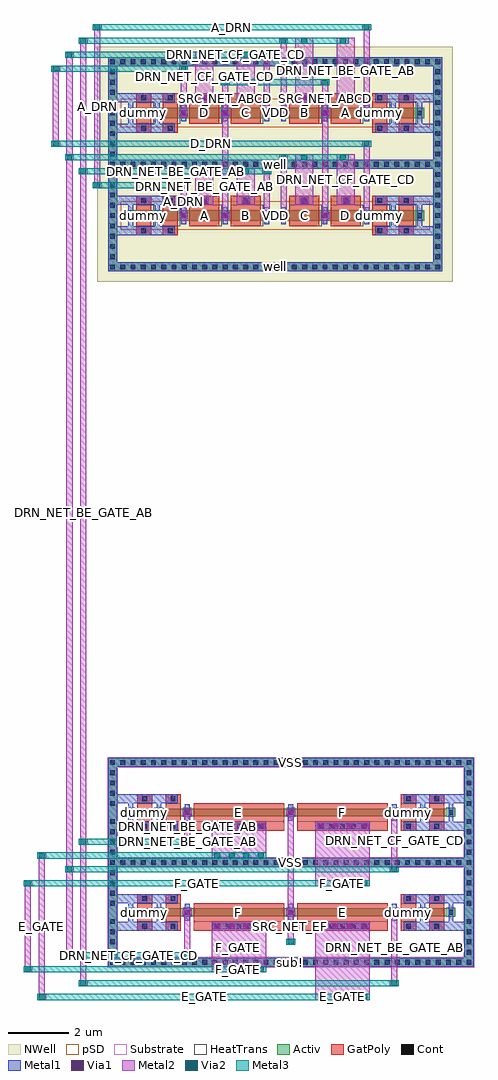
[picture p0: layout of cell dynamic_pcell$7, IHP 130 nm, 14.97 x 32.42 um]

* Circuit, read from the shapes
.subckt dynamic_pcell$7 A_DRN DRN_NET_BE_GATE_AB DRN_NET_CF_GATE_CD D_DRN E_GATE F_GATE SRC_NET_ABCD SRC_NET_EF VDD VSS
XM1 VSS VSS VSS VSS sg13_lv_nmos w=0.26u l=0.5u m=4
XM2 DRN_NET_CF_GATE_CD VSS VSS VSS sg13_lv_nmos w=0.26u l=0.5u m=2
XM3 DRN_NET_BE_GATE_AB VSS VSS VSS sg13_lv_nmos w=0.26u l=0.5u m=2
XM4 SRC_NET_EF F_GATE DRN_NET_CF_GATE_CD VSS sg13_lv_nmos w=0.26u l=3u m=2
XM5 SRC_NET_EF E_GATE DRN_NET_BE_GATE_AB VSS sg13_lv_nmos w=0.26u l=3u m=2
XM6 VDD VDD VDD VDD sg13_lv_pmos w=0.35u l=0.5u m=4
XM7 A_DRN VDD VDD VDD sg13_lv_pmos w=0.35u l=0.5u m=2
XM8 D_DRN VDD VDD VDD sg13_lv_pmos w=0.35u l=0.5u m=2
XM9 SRC_NET_ABCD DRN_NET_BE_GATE_AB A_DRN VDD sg13_lv_pmos w=0.35u l=1u m=2
XM10 SRC_NET_ABCD DRN_NET_CF_GATE_CD D_DRN VDD sg13_lv_pmos w=0.35u l=1u m=2
XM11 DRN_NET_BE_GATE_AB DRN_NET_BE_GATE_AB SRC_NET_ABCD VDD sg13_lv_pmos w=0.35u l=1u m=2
XM12 DRN_NET_CF_GATE_CD DRN_NET_CF_GATE_CD SRC_NET_ABCD VDD sg13_lv_pmos w=0.35u l=1u m=2
.ends

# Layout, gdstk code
import gdstk
lib = gdstk.Library(unit=1e-6, precision=1e-09)
def R(c, l, rs):  # rectangles x0, y0, x1, y1
    for r in rs: c.add(gdstk.rectangle(r[:2], r[2:], *l))
def A(c, l, x, y, w, h, nx, ny, dx, dy):  # array of equal rectangles
    R(c, l, [(x+i*dx, y+j*dy, x+i*dx+w, y+j*dy+h) for i in range(nx) for j in range(ny)])
def P(c, l, *ps):  # polygons
    for p in ps: c.add(gdstk.Polygon(p, *l))
Activ = (1, 0)
GatPoly = (5, 0)
Cont = (6, 0)
Metal1 = (8, 0)
Metal2 = (10, 0)
pSD = (14, 0)
Via1 = (19, 0)
Via2 = (29, 0)
Metal3 = (30, 0)
NWell = (31, 0)
Substrate = (40, 0)
HeatTrans = (51, 0)

dynamic_pcell_7 = lib.new_cell('dynamic_pcell$7')
A(dynamic_pcell_7, Activ, 0, -23.12, 0.3, 0.3, 3, 2, 0.94, 3.32)
A(dynamic_pcell_7, Activ, 8.76, -23.12, 0.3, 0.3, 3, 2, 0.94, 3.32)
A(dynamic_pcell_7, Activ, 0, 0, 0.3, 0.3, 3, 2, 0.88, 3.41)
A(dynamic_pcell_7, Activ, 7.84, 0, 0.3, 0.3, 3, 2, 0.88, 3.41)
R(dynamic_pcell_7, Activ, [(-0.6,-24.78,11.54,-24.48), (-0.6,-24.48,-0.3,-21.46), (11.24,-24.48,11.54,-21.46), (1.88,-23.12,2.18,-22.82), (5.32,-23.12,5.62,-22.82), (5.32,-23.12,5.62,-22.82), (8.76,-23.12,9.06,-22.82), (0,-23.1,2.18,-22.84), (1.88,-23.1,5.62,-22.84), (5.32,-23.1,9.06,-22.84), (8.76,-23.1,10.94,-22.84), (-0.6,-21.46,11.54,-21.16), (-0.6,-21.16,-0.3,-18.14), (11.24,-21.16,11.54,-18.14), (1.88,-19.8,2.18,-19.5), (5.32,-19.8,5.62,-19.5), (5.32,-19.8,5.62,-19.5), (8.76,-19.8,9.06,-19.5), (0,-19.78,2.18,-19.52), (1.88,-19.78,5.62,-19.52), (5.32,-19.78,9.06,-19.52), (8.76,-19.78,10.94,-19.52), (-0.6,-1.68,10.5,-1.38), (-0.6,-1.38,-0.3,1.73), (10.2,-1.38,10.5,1.73), (0,0,2.06,0.35), (1.76,0,2.06,0.3), (1.76,0,3.44,0.35), (3.14,0,3.44,0.3), (3.14,0,3.44,0.3), (3.14,0,4.82,0.35), (4.52,0,4.82,0.3), (5.08,0,5.38,0.3), (5.08,0,6.76,0.35), (6.46,0,6.76,0.3), (6.46,0,6.76,0.3), (6.46,0,8.14,0.35), (7.84,0,8.14,0.3), (7.84,0,9.9,0.35), (-0.6,1.73,10.5,2.03), (-0.6,2.03,-0.3,5.14), (10.2,2.03,10.5,5.14), (0,3.41,2.06,3.76), (1.76,3.41,2.06,3.71), (1.76,3.41,3.44,3.76), (3.14,3.41,3.44,3.71), (3.14,3.41,3.44,3.71), (3.14,3.41,4.82,3.76), (4.52,3.41,4.82,3.71), (5.08,3.41,5.38,3.71), (5.08,3.41,6.76,3.76), (6.46,3.41,6.76,3.71), (6.46,3.41,6.76,3.71), (6.46,3.41,8.14,3.76), (7.84,3.41,8.14,3.71), (7.84,3.41,9.9,3.76)])
P(dynamic_pcell_7, Activ, [(-0.6,-1.68),(-0.6,1.73),(-0.3,1.73),(-0.3,-1.38),(10.2,-1.38),(10.2,1.73),(-0.6,1.73),(-0.6,2.03),(10.5,2.03),(10.5,-1.68)],
  [(-0.6,1.73),(-0.6,5.14),(-0.3,5.14),(-0.3,2.03),(10.2,2.03),(10.2,5.14),(-0.6,5.14),(-0.6,5.44),(10.5,5.44),(10.5,1.73)],
  [(-0.6,-21.46),(-0.6,-18.14),(-0.3,-18.14),(-0.3,-21.16),(11.24,-21.16),(11.24,-18.14),(-0.6,-18.14),(-0.6,-17.84),(11.54,-17.84),(11.54,-21.46)],
  [(-0.6,-24.78),(-0.6,-21.46),(-0.3,-21.46),(-0.3,-24.48),(11.24,-24.48),(11.24,-21.46),(-0.6,-21.46),(-0.6,-21.16),(11.54,-21.16),(11.54,-24.78)])
R(dynamic_pcell_7, GatPoly, [(0.37,-23.58,0.87,-23.28), (0.47,-23.58,0.77,-23.28), (1.31,-23.58,1.81,-23.28), (1.41,-23.58,1.71,-23.28), (2.25,-23.58,5.25,-23.28), (2.85,-23.58,4.65,-23.28), (5.69,-23.58,8.69,-23.28), (6.29,-23.58,8.09,-23.28), (9.13,-23.58,9.63,-23.28), (9.23,-23.58,9.53,-23.28), (10.07,-23.58,10.57,-23.28), (10.17,-23.58,10.47,-23.28), (0.37,-23.28,0.87,-22.66), (1.31,-23.28,1.81,-22.66), (2.25,-23.28,5.25,-22.66), (5.69,-23.28,8.69,-22.66), (9.13,-23.28,9.63,-22.66), (10.07,-23.28,10.57,-22.66), (0.37,-22.66,0.87,-22.36), (0.47,-22.66,0.77,-22.36), (1.31,-22.66,1.81,-22.36), (1.41,-22.66,1.71,-22.36), (9.13,-22.66,9.63,-22.36), (9.23,-22.66,9.53,-22.36), (10.07,-22.66,10.57,-22.36), (10.17,-22.66,10.47,-22.36), (0.37,-20.26,0.87,-19.96), (0.47,-20.26,0.77,-19.96), (1.31,-20.26,1.81,-19.96), (1.41,-20.26,1.71,-19.96), (2.25,-20.26,5.25,-19.96), (2.85,-20.26,4.65,-19.96), (5.69,-20.26,8.69,-19.96), (6.29,-20.26,8.09,-19.96), (9.13,-20.26,9.63,-19.96), (9.23,-20.26,9.53,-19.96), (10.07,-20.26,10.57,-19.96), (10.17,-20.26,10.47,-19.96), (0.37,-19.96,0.87,-19.34), (1.31,-19.96,1.81,-19.34), (2.25,-19.96,5.25,-19.34), (5.69,-19.96,8.69,-19.34), (9.13,-19.96,9.63,-19.34), (10.07,-19.96,10.57,-19.34), (0.37,-19.34,0.87,-19.04), (0.47,-19.34,0.77,-19.04), (1.31,-19.34,1.81,-19.04), (1.41,-19.34,1.71,-19.04), (9.13,-19.34,9.63,-19.04), (9.23,-19.34,9.53,-19.04), (10.07,-19.34,10.57,-19.04), (10.17,-19.34,10.47,-19.04), (0.34,-0.48,0.84,-0.18), (0.44,-0.48,0.74,-0.18), (1.22,-0.48,1.72,-0.18), (1.32,-0.48,1.62,-0.18), (8.18,-0.48,8.68,-0.18), (8.28,-0.48,8.58,-0.18), (9.06,-0.48,9.56,-0.18), (9.16,-0.48,9.46,-0.18), (0.34,-0.18,0.84,0.53), (1.22,-0.18,1.72,0.53), (2.1,-0.18,3.1,0.53), (3.48,-0.18,4.48,0.53), (5.42,-0.18,6.42,0.53), (6.8,-0.18,7.8,0.53), (8.18,-0.18,8.68,0.53), (9.06,-0.18,9.56,0.53), (0.34,0.53,0.84,0.83), (0.44,0.53,0.74,0.83), (1.22,0.53,1.72,0.83), (1.32,0.53,1.62,0.83), (2.1,0.53,3.1,0.83), (2.3,0.53,2.9,0.83), (3.48,0.53,4.48,0.83), (3.68,0.53,4.28,0.83), (5.42,0.53,6.42,0.83), (5.62,0.53,6.22,0.83), (6.8,0.53,7.8,0.83), (7,0.53,7.6,0.83), (8.18,0.53,8.68,0.83), (8.28,0.53,8.58,0.83), (9.06,0.53,9.56,0.83), (9.16,0.53,9.46,0.83), (0.34,2.93,0.84,3.23), (0.44,2.93,0.74,3.23), (1.22,2.93,1.72,3.23), (1.32,2.93,1.62,3.23), (8.18,2.93,8.68,3.23), (8.28,2.93,8.58,3.23), (9.06,2.93,9.56,3.23), (9.16,2.93,9.46,3.23), (0.34,3.23,0.84,3.94), (1.22,3.23,1.72,3.94), (2.1,3.23,3.1,3.94), (3.48,3.23,4.48,3.94), (5.42,3.23,6.42,3.94), (6.8,3.23,7.8,3.94), (8.18,3.23,8.68,3.94), (9.06,3.23,9.56,3.94), (0.34,3.94,0.84,4.24), (0.44,3.94,0.74,4.24), (1.22,3.94,1.72,4.24), (1.32,3.94,1.62,4.24), (2.1,3.94,3.1,4.24), (2.3,3.94,2.9,4.24), (3.48,3.94,4.48,4.24), (3.68,3.94,4.28,4.24), (5.42,3.94,6.42,4.24), (5.62,3.94,6.22,4.24), (6.8,3.94,7.8,4.24), (7,3.94,7.6,4.24), (8.18,3.94,8.68,4.24), (8.28,3.94,8.58,4.24), (9.06,3.94,9.56,4.24), (9.16,3.94,9.46,4.24)])
A(dynamic_pcell_7, Cont, -0.53, -24.71, 0.16, 0.16, 17, 2, 0.34, 6.64)
A(dynamic_pcell_7, Cont, 5.53, -24.71, 0.16, 0.16, 18, 2, 0.34, 6.64)
A(dynamic_pcell_7, Cont, -0.53, -24.37, 0.16, 0.16, 1, 4, 0, 0.34)
A(dynamic_pcell_7, Cont, 11.31, -24.37, 0.16, 0.16, 1, 4, 0, 0.34)
A(dynamic_pcell_7, Cont, 2.95, -23.51, 0.16, 0.16, 5, 2, 0.36, 3.32)
A(dynamic_pcell_7, Cont, 6.39, -23.51, 0.16, 0.16, 5, 2, 0.36, 3.32)
A(dynamic_pcell_7, Cont, 0.07, -23.05, 0.16, 0.16, 3, 2, 0.94, 3.32)
A(dynamic_pcell_7, Cont, 8.83, -23.05, 0.16, 0.16, 3, 2, 0.94, 3.32)
A(dynamic_pcell_7, Cont, -0.53, -22.75, 0.16, 0.16, 1, 5, 0, 0.34)
A(dynamic_pcell_7, Cont, 11.31, -22.75, 0.16, 0.16, 1, 5, 0, 0.34)
A(dynamic_pcell_7, Cont, -0.53, -21.39, 0.16, 0.16, 1, 5, 0, 0.34)
A(dynamic_pcell_7, Cont, 11.31, -21.39, 0.16, 0.16, 1, 5, 0, 0.34)
A(dynamic_pcell_7, Cont, -0.53, -19.43, 0.16, 0.16, 1, 4, 0, 0.34)
A(dynamic_pcell_7, Cont, 11.31, -19.43, 0.16, 0.16, 1, 4, 0, 0.34)
A(dynamic_pcell_7, Cont, -0.53, -1.61, 0.16, 0.16, 16, 2, 0.34, 6.82)
A(dynamic_pcell_7, Cont, 5.17, -1.61, 0.16, 0.16, 16, 2, 0.34, 6.82)
A(dynamic_pcell_7, Cont, -0.53, -1.27, 0.16, 0.16, 1, 4, 0, 0.34)
A(dynamic_pcell_7, Cont, 10.27, -1.27, 0.16, 0.16, 1, 4, 0, 0.34)
A(dynamic_pcell_7, Cont, 0.07, 0.095, 0.16, 0.16, 3, 2, 0.88, 3.41)
A(dynamic_pcell_7, Cont, 7.91, 0.095, 0.16, 0.16, 3, 2, 0.88, 3.41)
A(dynamic_pcell_7, Cont, -0.53, 0.1, 0.16, 0.16, 1, 6, 0, 0.34)
A(dynamic_pcell_7, Cont, 10.27, 0.1, 0.16, 0.16, 1, 6, 0, 0.34)
A(dynamic_pcell_7, Cont, -0.53, 1.8, 0.16, 0.16, 1, 5, 0, 0.34)
A(dynamic_pcell_7, Cont, 10.27, 1.8, 0.16, 0.16, 1, 5, 0, 0.34)
A(dynamic_pcell_7, Cont, -0.53, 3.51, 0.16, 0.16, 1, 5, 0, 0.34)
A(dynamic_pcell_7, Cont, 10.27, 3.51, 0.16, 0.16, 1, 5, 0, 0.34)
R(dynamic_pcell_7, Cont, [(0.54,-23.51,0.7,-23.35), (1.48,-23.51,1.64,-23.35), (9.3,-23.51,9.46,-23.35), (10.24,-23.51,10.4,-23.35), (1.95,-23.05,2.11,-22.89), (5.39,-23.05,5.55,-22.89), (5.39,-23.05,5.55,-22.89), (8.83,-23.05,8.99,-22.89), (0.54,-22.59,0.7,-22.43), (1.48,-22.59,1.64,-22.43), (9.3,-22.59,9.46,-22.43), (10.24,-22.59,10.4,-22.43), (-0.19,-21.39,-0.03,-21.23), (-0.19,-21.39,-0.03,-21.23), (0.15,-21.39,0.31,-21.23), (0.15,-21.39,0.31,-21.23), (0.49,-21.39,0.65,-21.23), (0.49,-21.39,0.65,-21.23), (0.83,-21.39,0.99,-21.23), (0.83,-21.39,0.99,-21.23), (1.17,-21.39,1.33,-21.23), (1.17,-21.39,1.33,-21.23), (1.51,-21.39,1.67,-21.23), (1.51,-21.39,1.67,-21.23), (1.85,-21.39,2.01,-21.23), (1.85,-21.39,2.01,-21.23), (2.19,-21.39,2.35,-21.23), (2.19,-21.39,2.35,-21.23), (2.53,-21.39,2.69,-21.23), (2.53,-21.39,2.69,-21.23), (2.87,-21.39,3.03,-21.23), (2.87,-21.39,3.03,-21.23), (3.21,-21.39,3.37,-21.23), (3.21,-21.39,3.37,-21.23), (3.55,-21.39,3.71,-21.23), (3.55,-21.39,3.71,-21.23), (3.89,-21.39,4.05,-21.23), (3.89,-21.39,4.05,-21.23), (4.23,-21.39,4.39,-21.23), (4.23,-21.39,4.39,-21.23), (4.57,-21.39,4.73,-21.23), (4.57,-21.39,4.73,-21.23), (4.91,-21.39,5.07,-21.23), (4.91,-21.39,5.07,-21.23), (5.53,-21.39,5.69,-21.23), (5.53,-21.39,5.69,-21.23), (5.87,-21.39,6.03,-21.23), (5.87,-21.39,6.03,-21.23), (6.21,-21.39,6.37,-21.23), (6.21,-21.39,6.37,-21.23), (6.55,-21.39,6.71,-21.23), (6.55,-21.39,6.71,-21.23), (6.89,-21.39,7.05,-21.23), (6.89,-21.39,7.05,-21.23), (7.23,-21.39,7.39,-21.23), (7.23,-21.39,7.39,-21.23), (7.57,-21.39,7.73,-21.23), (7.57,-21.39,7.73,-21.23), (7.91,-21.39,8.07,-21.23), (7.91,-21.39,8.07,-21.23), (8.25,-21.39,8.41,-21.23), (8.25,-21.39,8.41,-21.23), (8.59,-21.39,8.75,-21.23), (8.59,-21.39,8.75,-21.23), (8.93,-21.39,9.09,-21.23), (8.93,-21.39,9.09,-21.23), (9.27,-21.39,9.43,-21.23), (9.27,-21.39,9.43,-21.23), (9.61,-21.39,9.77,-21.23), (9.61,-21.39,9.77,-21.23), (9.95,-21.39,10.11,-21.23), (9.95,-21.39,10.11,-21.23), (10.29,-21.39,10.45,-21.23), (10.29,-21.39,10.45,-21.23), (10.63,-21.39,10.79,-21.23), (10.63,-21.39,10.79,-21.23), (10.97,-21.39,11.13,-21.23), (10.97,-21.39,11.13,-21.23), (0.54,-20.19,0.7,-20.03), (1.48,-20.19,1.64,-20.03), (9.3,-20.19,9.46,-20.03), (10.24,-20.19,10.4,-20.03), (1.95,-19.73,2.11,-19.57), (5.39,-19.73,5.55,-19.57), (5.39,-19.73,5.55,-19.57), (8.83,-19.73,8.99,-19.57), (0.54,-19.27,0.7,-19.11), (1.48,-19.27,1.64,-19.11), (9.3,-19.27,9.46,-19.11), (10.24,-19.27,10.4,-19.11), (0.51,-0.41,0.67,-0.25), (1.39,-0.41,1.55,-0.25), (8.35,-0.41,8.51,-0.25), (9.23,-0.41,9.39,-0.25), (1.83,0.095,1.99,0.255), (3.21,0.095,3.37,0.255), (3.21,0.095,3.37,0.255), (4.59,0.095,4.75,0.255), (5.15,0.095,5.31,0.255), (6.53,0.095,6.69,0.255), (6.53,0.095,6.69,0.255), (7.91,0.095,8.07,0.255), (0.51,0.6,0.67,0.76), (1.39,0.6,1.55,0.76), (2.52,0.6,2.68,0.76), (3.9,0.6,4.06,0.76), (5.84,0.6,6,0.76), (7.22,0.6,7.38,0.76), (8.35,0.6,8.51,0.76), (9.23,0.6,9.39,0.76), (-0.19,1.8,-0.03,1.96), (-0.19,1.8,-0.03,1.96), (0.15,1.8,0.31,1.96), (0.15,1.8,0.31,1.96), (0.49,1.8,0.65,1.96), (0.49,1.8,0.65,1.96), (0.83,1.8,0.99,1.96), (0.83,1.8,0.99,1.96), (1.17,1.8,1.33,1.96), (1.17,1.8,1.33,1.96), (1.51,1.8,1.67,1.96), (1.51,1.8,1.67,1.96), (1.85,1.8,2.01,1.96), (1.85,1.8,2.01,1.96), (2.19,1.8,2.35,1.96), (2.19,1.8,2.35,1.96), (2.53,1.8,2.69,1.96), (2.53,1.8,2.69,1.96), (2.87,1.8,3.03,1.96), (2.87,1.8,3.03,1.96), (3.21,1.8,3.37,1.96), (3.21,1.8,3.37,1.96), (3.55,1.8,3.71,1.96), (3.55,1.8,3.71,1.96), (3.89,1.8,4.05,1.96), (3.89,1.8,4.05,1.96), (4.23,1.8,4.39,1.96), (4.23,1.8,4.39,1.96), (4.57,1.8,4.73,1.96), (4.57,1.8,4.73,1.96), (5.17,1.8,5.33,1.96), (5.17,1.8,5.33,1.96), (5.51,1.8,5.67,1.96), (5.51,1.8,5.67,1.96), (5.85,1.8,6.01,1.96), (5.85,1.8,6.01,1.96), (6.19,1.8,6.35,1.96), (6.19,1.8,6.35,1.96), (6.53,1.8,6.69,1.96), (6.53,1.8,6.69,1.96), (6.87,1.8,7.03,1.96), (6.87,1.8,7.03,1.96), (7.21,1.8,7.37,1.96), (7.21,1.8,7.37,1.96), (7.55,1.8,7.71,1.96), (7.55,1.8,7.71,1.96), (7.89,1.8,8.05,1.96), (7.89,1.8,8.05,1.96), (8.23,1.8,8.39,1.96), (8.23,1.8,8.39,1.96), (8.57,1.8,8.73,1.96), (8.57,1.8,8.73,1.96), (8.91,1.8,9.07,1.96), (8.91,1.8,9.07,1.96), (9.25,1.8,9.41,1.96), (9.25,1.8,9.41,1.96), (9.59,1.8,9.75,1.96), (9.59,1.8,9.75,1.96), (9.93,1.8,10.09,1.96), (9.93,1.8,10.09,1.96), (0.51,3,0.67,3.16), (1.39,3,1.55,3.16), (8.35,3,8.51,3.16), (9.23,3,9.39,3.16), (1.83,3.505,1.99,3.665), (3.21,3.505,3.37,3.665), (3.21,3.505,3.37,3.665), (4.59,3.505,4.75,3.665), (5.15,3.505,5.31,3.665), (6.53,3.505,6.69,3.665), (6.53,3.505,6.69,3.665), (7.91,3.505,8.07,3.665), (0.51,4.01,0.67,4.17), (1.39,4.01,1.55,4.17), (2.52,4.01,2.68,4.17), (3.9,4.01,4.06,4.17), (5.84,4.01,6,4.17), (7.22,4.01,7.38,4.17), (8.35,4.01,8.51,4.17), (9.23,4.01,9.39,4.17)])
A(dynamic_pcell_7, Metal1, 0.07, -23.1, 0.16, 0.26, 3, 2, 0.94, 3.32)
A(dynamic_pcell_7, Metal1, 8.83, -23.1, 0.16, 0.26, 3, 2, 0.94, 3.32)
A(dynamic_pcell_7, Metal1, 0.07, 0.01, 0.16, 0.33, 3, 2, 0.88, 3.41)
A(dynamic_pcell_7, Metal1, 7.91, 0.01, 0.16, 0.33, 3, 2, 0.88, 3.41)
R(dynamic_pcell_7, Metal1, [(-0.6,-24.78,11.54,-24.48), (-0.6,-24.48,-0.3,-21.46), (11.24,-24.48,11.54,-21.46), (-0.6,-23.58,1.71,-23.28), (0.07,-23.58,0.23,-22.36), (1.01,-23.58,1.17,-22.36), (9.23,-23.58,11.54,-23.28), (9.77,-23.58,9.93,-22.36), (10.71,-23.58,10.87,-22.36), (2.885,-23.535,4.615,-23.325), (6.325,-23.535,8.055,-23.325), (0.49,-23.51,0.75,-23.35), (1.43,-23.51,1.69,-23.35), (2.9,-23.51,4.6,-23.35), (6.34,-23.51,8.04,-23.35), (9.25,-23.51,9.51,-23.35), (10.19,-23.51,10.45,-23.35), (1.95,-23.25,2.11,-22.69), (5.39,-23.25,5.55,-22.69), (5.39,-23.25,5.55,-22.69), (8.83,-23.25,8.99,-22.69), (1.95,-23.1,2.11,-22.84), (5.39,-23.1,5.55,-22.84), (5.39,-23.1,5.55,-22.84), (8.83,-23.1,8.99,-22.84), (1.885,-23.075,2.175,-22.865), (5.325,-23.075,5.615,-22.865), (5.325,-23.075,5.615,-22.865), (5.325,-23.075,5.615,-22.865), (5.325,-23.075,5.615,-22.865), (8.765,-23.075,9.055,-22.865), (-0.6,-22.66,1.71,-22.36), (9.23,-22.66,11.54,-22.36), (0.49,-22.59,0.75,-22.43), (1.43,-22.59,1.69,-22.43), (9.25,-22.59,9.51,-22.43), (10.19,-22.59,10.45,-22.43), (-0.6,-21.46,11.54,-21.16), (-0.6,-21.46,11.54,-21.16), (-0.6,-21.16,-0.3,-18.14), (11.24,-21.16,11.54,-18.14), (-0.6,-20.26,1.71,-19.96), (0.07,-20.26,0.23,-19.04), (1.01,-20.26,1.17,-19.04), (9.23,-20.26,11.54,-19.96), (9.77,-20.26,9.93,-19.04), (10.71,-20.26,10.87,-19.04), (2.885,-20.215,4.615,-20.005), (6.325,-20.215,8.055,-20.005), (0.49,-20.19,0.75,-20.03), (1.43,-20.19,1.69,-20.03), (2.9,-20.19,4.6,-20.03), (6.34,-20.19,8.04,-20.03), (9.25,-20.19,9.51,-20.03), (10.19,-20.19,10.45,-20.03), (1.95,-19.93,2.11,-19.37), (5.39,-19.93,5.55,-19.37), (5.39,-19.93,5.55,-19.37), (8.83,-19.93,8.99,-19.37), (1.95,-19.78,2.11,-19.52), (5.39,-19.78,5.55,-19.52), (5.39,-19.78,5.55,-19.52), (8.83,-19.78,8.99,-19.52), (1.885,-19.755,2.175,-19.545), (5.325,-19.755,5.615,-19.545), (5.325,-19.755,5.615,-19.545), (8.765,-19.755,9.055,-19.545), (-0.6,-19.34,1.71,-19.04), (9.23,-19.34,11.54,-19.04), (0.49,-19.27,0.75,-19.11), (1.43,-19.27,1.69,-19.11), (9.25,-19.27,9.51,-19.11), (10.19,-19.27,10.45,-19.11), (-0.6,-18.14,11.54,-17.84), (-0.6,-1.68,10.5,-1.38), (-0.6,-1.38,-0.3,1.73), (10.2,-1.38,10.5,1.73), (-0.6,-0.48,1.62,-0.18), (0.07,-0.48,0.23,0.83), (0.95,-0.48,1.11,0.83), (8.28,-0.48,10.5,-0.18), (8.79,-0.48,8.95,0.83), (9.67,-0.48,9.83,0.83), (0.46,-0.41,0.72,-0.25), (1.34,-0.41,1.6,-0.25), (8.3,-0.41,8.56,-0.25), (9.18,-0.41,9.44,-0.25), (1.83,-0.105,1.99,0.455), (3.21,-0.105,3.37,0.455), (3.21,-0.105,3.37,0.455), (4.59,-0.105,4.75,0.455), (5.15,-0.105,5.31,0.455), (6.53,-0.105,6.69,0.455), (6.53,-0.105,6.69,0.455), (7.91,-0.105,8.07,0.455), (1.83,0.01,1.99,0.34), (3.21,0.01,3.37,0.34), (3.21,0.01,3.37,0.34), (4.59,0.01,4.75,0.34), (5.15,0.01,5.31,0.34), (6.53,0.01,6.69,0.34), (6.53,0.01,6.69,0.34), (7.91,0.01,8.07,0.34), (1.765,0.07,2.055,0.28), (3.145,0.07,3.435,0.28), (3.145,0.07,3.435,0.28), (4.525,0.07,4.815,0.28), (5.085,0.07,5.375,0.28), (6.465,0.07,6.755,0.28), (6.465,0.07,6.755,0.28), (7.845,0.07,8.135,0.28), (-0.6,0.53,1.62,0.83), (8.28,0.53,10.5,0.83), (2.455,0.575,2.745,0.785), (3.835,0.575,4.125,0.785), (5.775,0.575,6.065,0.785), (7.155,0.575,7.445,0.785), (0.46,0.6,0.72,0.76), (1.34,0.6,1.6,0.76), (2.47,0.6,2.73,0.76), (3.85,0.6,4.11,0.76), (5.79,0.6,6.05,0.76), (7.17,0.6,7.43,0.76), (8.3,0.6,8.56,0.76), (9.18,0.6,9.44,0.76), (-0.6,1.73,10.5,2.03), (-0.6,1.73,10.5,2.03), (-0.6,2.03,-0.3,5.14), (10.2,2.03,10.5,5.14), (-0.6,2.93,1.62,3.23), (0.07,2.93,0.23,4.24), (0.95,2.93,1.11,4.24), (8.28,2.93,10.5,3.23), (8.79,2.93,8.95,4.24), (9.67,2.93,9.83,4.24), (0.46,3,0.72,3.16), (1.34,3,1.6,3.16), (8.3,3,8.56,3.16), (9.18,3,9.44,3.16), (1.83,3.305,1.99,3.865), (3.21,3.305,3.37,3.865), (3.21,3.305,3.37,3.865), (4.59,3.305,4.75,3.865), (5.15,3.305,5.31,3.865), (6.53,3.305,6.69,3.865), (6.53,3.305,6.69,3.865), (7.91,3.305,8.07,3.865), (1.83,3.42,1.99,3.75), (3.21,3.42,3.37,3.75), (3.21,3.42,3.37,3.75), (4.59,3.42,4.75,3.75), (5.15,3.42,5.31,3.75), (6.53,3.42,6.69,3.75), (6.53,3.42,6.69,3.75), (7.91,3.42,8.07,3.75), (1.765,3.48,2.055,3.69), (3.145,3.48,3.435,3.69), (3.145,3.48,3.435,3.69), (3.145,3.48,3.435,3.69), (3.145,3.48,3.435,3.69), (4.525,3.48,4.815,3.69), (5.085,3.48,5.375,3.69), (6.465,3.48,6.755,3.69), (6.465,3.48,6.755,3.69), (6.465,3.48,6.755,3.69), (6.465,3.48,6.755,3.69), (7.845,3.48,8.135,3.69), (-0.6,3.94,1.62,4.24), (8.28,3.94,10.5,4.24), (2.455,3.985,2.745,4.195), (3.835,3.985,4.125,4.195), (5.775,3.985,6.065,4.195), (7.155,3.985,7.445,4.195), (0.46,4.01,0.72,4.17), (1.34,4.01,1.6,4.17), (2.47,4.01,2.73,4.17), (3.85,4.01,4.11,4.17), (5.79,4.01,6.05,4.17), (7.17,4.01,7.43,4.17), (8.3,4.01,8.56,4.17), (9.18,4.01,9.44,4.17), (-0.6,5.14,10.5,5.44)])
A(dynamic_pcell_7, Metal2, 4.525, 1.55, 0.29, 0.2, 1, 3, 0, 1.935)
R(dynamic_pcell_7, Metal2, [(-2.945,-25.88,-2.655,-25.68), (-2.9,-25.88,-2.7,-20.98), (6.29,-25.88,8.09,-23.28), (6.325,-25.88,8.055,-25.68), (-1.565,-25.42,-1.275,-25.22), (-1.52,-25.42,-1.32,6.08), (8.765,-25.42,9.055,-25.22), (8.81,-25.42,9.01,-22.84), (-3.405,-24.96,-3.115,-24.76), (-3.36,-24.96,-3.16,-21.9), (2.85,-24.96,4.65,-23.28), (2.885,-24.96,4.615,-24.76), (-2.025,-24.5,-1.735,-24.3), (-1.98,-24.5,-1.78,5.62), (1.885,-24.5,2.175,-24.3), (1.93,-24.5,2.13,-22.84), (5.325,-24.04,5.615,-23.84), (5.325,-24.04,5.615,-23.84), (5.37,-24.04,5.57,-22.84), (5.37,-24.04,5.57,-22.84), (2.885,-23.53,4.615,-23.33), (6.325,-23.53,8.055,-23.33), (5.37,-23.1,5.57,-19.52), (5.37,-23.1,5.57,-19.52), (1.885,-23.07,2.175,-22.87), (5.325,-23.07,5.615,-22.87), (5.325,-23.07,5.615,-22.87), (5.325,-23.07,5.615,-22.87), (5.325,-23.07,5.615,-22.87), (8.765,-23.07,9.055,-22.87), (-3.405,-22.1,-3.115,-21.9), (6.29,-22.1,8.09,-19.96), (6.325,-22.1,8.055,-21.9), (-2.025,-21.64,-1.735,-21.44), (8.765,-21.64,9.055,-21.44), (8.81,-21.64,9.01,-19.52), (-2.945,-21.18,-2.655,-20.98), (2.85,-21.18,4.65,-19.96), (2.885,-21.18,4.615,-20.98), (-1.565,-20.72,-1.275,-20.52), (1.885,-20.72,2.175,-20.52), (1.93,-20.72,2.13,-19.52), (2.885,-20.21,4.615,-20.01), (6.325,-20.21,8.055,-20.01), (1.885,-19.75,2.175,-19.55), (5.325,-19.75,5.615,-19.55), (5.325,-19.75,5.615,-19.55), (8.765,-19.75,9.055,-19.55), (1.81,0.01,2.01,1.29), (3.19,0.01,3.39,3.75), (3.19,0.01,3.39,3.75), (4.57,0.01,4.77,1.75), (5.13,0.01,5.33,2.21), (6.51,0.01,6.71,3.75), (6.51,0.01,6.71,3.75), (7.89,0.01,8.09,2.67), (1.765,0.075,2.055,0.275), (3.145,0.075,3.435,0.275), (3.145,0.075,3.435,0.275), (4.525,0.075,4.815,0.275), (5.085,0.075,5.375,0.275), (6.465,0.075,6.755,0.275), (6.465,0.075,6.755,0.275), (7.845,0.075,8.135,0.275), (2.3,0.53,2.9,1.75), (3.68,0.53,4.28,1.75), (5.62,0.53,6.22,2.21), (7,0.53,7.6,2.21), (2.455,0.58,2.745,0.78), (3.835,0.58,4.125,0.78), (5.775,0.58,6.065,0.78), (7.155,0.58,7.445,0.78), (-1.105,1.09,-0.815,1.29), (-1.06,1.09,-0.86,6.54), (1.765,1.09,2.055,1.29), (-1.565,1.55,-1.275,1.75), (2.555,1.55,2.845,1.75), (3.835,1.55,4.125,1.75), (-2.025,2.01,-1.735,2.21), (5.085,2.01,5.375,2.21), (5.775,2.01,6.065,2.21), (7.055,2.01,7.345,2.21), (-2.485,2.47,-2.195,2.67), (-2.44,2.47,-2.24,5.16), (7.845,2.47,8.135,2.67), (1.81,3.42,2.01,5.16), (3.19,3.42,3.39,4.7), (3.19,3.42,3.39,4.7), (4.57,3.42,4.77,5.62), (5.13,3.42,5.33,6.08), (6.51,3.42,6.71,4.7), (6.51,3.42,6.71,4.7), (7.89,3.42,8.09,6.54), (1.765,3.485,2.055,3.685), (3.145,3.485,3.435,3.685), (3.145,3.485,3.435,3.685), (3.145,3.485,3.435,3.685), (3.145,3.485,3.435,3.685), (5.085,3.485,5.375,3.685), (6.465,3.485,6.755,3.685), (6.465,3.485,6.755,3.685), (6.465,3.485,6.755,3.685), (6.465,3.485,6.755,3.685), (7.845,3.485,8.135,3.685), (2.3,3.94,2.9,5.62), (3.68,3.94,4.28,5.62), (5.62,3.94,6.22,6.08), (7,3.94,7.6,6.08), (2.455,3.99,2.745,4.19), (3.835,3.99,4.125,4.19), (5.775,3.99,6.065,4.19), (7.155,3.99,7.445,4.19), (3.145,4.5,3.435,4.7), (3.145,4.5,3.435,4.7), (6.465,4.5,6.755,4.7), (6.465,4.5,6.755,4.7), (-2.485,4.96,-2.195,5.16), (1.765,4.96,2.055,5.16), (-2.025,5.42,-1.735,5.62), (2.555,5.42,2.845,5.62), (3.835,5.42,4.125,5.62), (-1.565,5.88,-1.275,6.08), (5.085,5.88,5.375,6.08), (5.775,5.88,6.065,6.08), (7.055,5.88,7.345,6.08), (-1.105,6.34,-0.815,6.54), (7.845,6.34,8.135,6.54)])
R(dynamic_pcell_7, pSD, [(-0.63,-24.81,11.57,-24.45), (-0.63,-24.45,-0.27,-21.49), (11.21,-24.45,11.57,-21.49), (-0.63,-21.49,11.57,-21.13), (-0.63,-21.13,-0.27,-18.17), (11.21,-21.13,11.57,-18.17), (-0.18,-0.3,2.24,0.65), (1.58,-0.3,3.62,0.65), (2.96,-0.3,5,0.65), (4.9,-0.3,6.94,0.65), (6.28,-0.3,8.32,0.65), (7.66,-0.3,10.08,0.65), (-0.18,3.11,2.24,4.06), (1.58,3.11,3.62,4.06), (2.96,3.11,5,4.06), (4.9,3.11,6.94,4.06), (6.28,3.11,8.32,4.06), (7.66,3.11,10.08,4.06)])
P(dynamic_pcell_7, pSD, [(-0.63,-21.49),(-0.63,-18.17),(-0.27,-18.17),(-0.27,-21.13),(11.21,-21.13),(11.21,-18.17),(-0.63,-18.17),(-0.63,-17.81),(11.57,-17.81),(11.57,-21.49)],
  [(-0.63,-24.81),(-0.63,-21.49),(-0.27,-21.49),(-0.27,-24.45),(11.21,-24.45),(11.21,-21.49),(-0.63,-21.49),(-0.63,-21.13),(11.57,-21.13),(11.57,-24.81)])
A(dynamic_pcell_7, Via1, 2.935, -23.525, 0.19, 0.19, 4, 2, 0.48, 3.32)
A(dynamic_pcell_7, Via1, 6.375, -23.525, 0.19, 0.19, 4, 2, 0.48, 3.32)
R(dynamic_pcell_7, Via1, [(1.935,-23.065,2.125,-22.875), (5.375,-23.065,5.565,-22.875), (5.375,-23.065,5.565,-22.875), (5.375,-23.065,5.565,-22.875), (5.375,-23.065,5.565,-22.875), (8.815,-23.065,9.005,-22.875), (1.935,-19.745,2.125,-19.555), (5.375,-19.745,5.565,-19.555), (5.375,-19.745,5.565,-19.555), (8.815,-19.745,9.005,-19.555), (1.815,0.08,2.005,0.27), (3.195,0.08,3.385,0.27), (3.195,0.08,3.385,0.27), (4.575,0.08,4.765,0.27), (5.135,0.08,5.325,0.27), (6.515,0.08,6.705,0.27), (6.515,0.08,6.705,0.27), (7.895,0.08,8.085,0.27), (2.505,0.585,2.695,0.775), (3.885,0.585,4.075,0.775), (5.825,0.585,6.015,0.775), (7.205,0.585,7.395,0.775), (1.815,3.49,2.005,3.68), (3.195,3.49,3.385,3.68), (3.195,3.49,3.385,3.68), (3.195,3.49,3.385,3.68), (3.195,3.49,3.385,3.68), (4.575,3.49,4.765,3.68), (5.135,3.49,5.325,3.68), (6.515,3.49,6.705,3.68), (6.515,3.49,6.705,3.68), (6.515,3.49,6.705,3.68), (6.515,3.49,6.705,3.68), (7.895,3.49,8.085,3.68), (2.505,3.995,2.695,4.185), (3.885,3.995,4.075,4.185), (5.825,3.995,6.015,4.185), (7.205,3.995,7.395,4.185)])
A(dynamic_pcell_7, Via2, 6.375, -25.875, 0.19, 0.19, 4, 2, 0.48, 3.78)
A(dynamic_pcell_7, Via2, 2.935, -24.955, 0.19, 0.19, 4, 2, 0.48, 3.78)
R(dynamic_pcell_7, Via2, [(-2.895,-25.875,-2.705,-25.685), (-1.515,-25.415,-1.325,-25.225), (8.815,-25.415,9.005,-25.225), (-3.355,-24.955,-3.165,-24.765), (-1.975,-24.495,-1.785,-24.305), (1.935,-24.495,2.125,-24.305), (5.375,-24.035,5.565,-23.845), (5.375,-24.035,5.565,-23.845), (-3.355,-22.095,-3.165,-21.905), (-1.975,-21.635,-1.785,-21.445), (8.815,-21.635,9.005,-21.445), (-2.895,-21.175,-2.705,-20.985), (-1.515,-20.715,-1.325,-20.525), (1.935,-20.715,2.125,-20.525), (-1.055,1.095,-0.865,1.285), (1.815,1.095,2.005,1.285), (-1.515,1.555,-1.325,1.745), (2.605,1.555,2.795,1.745), (3.885,1.555,4.075,1.745), (4.575,1.555,4.765,1.745), (-1.975,2.015,-1.785,2.205), (5.135,2.015,5.325,2.205), (5.825,2.015,6.015,2.205), (7.105,2.015,7.295,2.205), (-2.435,2.475,-2.245,2.665), (7.895,2.475,8.085,2.665), (3.195,4.505,3.385,4.695), (3.195,4.505,3.385,4.695), (6.515,4.505,6.705,4.695), (6.515,4.505,6.705,4.695), (-2.435,4.965,-2.245,5.155), (1.815,4.965,2.005,5.155), (-1.975,5.425,-1.785,5.615), (2.605,5.425,2.795,5.615), (3.885,5.425,4.075,5.615), (4.575,5.425,4.765,5.615), (-1.515,5.885,-1.325,6.075), (5.135,5.885,5.325,6.075), (5.825,5.885,6.015,6.075), (7.105,5.885,7.295,6.075), (-1.055,6.345,-0.865,6.535), (7.895,6.345,8.085,6.535)])
R(dynamic_pcell_7, Metal3, [(-2.945,-25.88,-2.655,-25.68), (-2.9,-25.88,8.09,-25.68), (6.29,-25.88,8.09,-25.68), (6.325,-25.88,8.055,-25.68), (-1.565,-25.42,-1.275,-25.22), (-1.52,-25.42,9.01,-25.22), (8.765,-25.42,9.055,-25.22), (-3.405,-24.96,-3.115,-24.76), (-3.36,-24.96,4.65,-24.76), (2.85,-24.96,4.65,-24.76), (2.885,-24.96,4.615,-24.76), (-2.025,-24.5,-1.735,-24.3), (-1.98,-24.5,2.13,-24.3), (1.885,-24.5,2.175,-24.3), (1.93,-24.5,2.13,-24.3), (5.325,-24.04,5.615,-23.84), (5.325,-24.04,5.615,-23.84), (5.37,-24.04,5.57,-23.84), (-3.405,-22.1,-3.115,-21.9), (-3.36,-22.1,8.09,-21.9), (6.29,-22.1,8.09,-21.9), (6.325,-22.1,8.055,-21.9), (-2.025,-21.64,-1.735,-21.44), (-1.98,-21.64,9.01,-21.44), (8.765,-21.64,9.055,-21.44), (-2.945,-21.18,-2.655,-20.98), (-2.9,-21.18,4.65,-20.98), (2.85,-21.18,4.65,-20.98), (2.885,-21.18,4.615,-20.98), (-1.565,-20.72,-1.275,-20.52), (-1.52,-20.72,2.13,-20.52), (1.885,-20.72,2.175,-20.52), (1.93,-20.72,2.13,-20.52), (-1.105,1.09,-0.815,1.29), (-1.06,1.09,2.01,1.29), (1.765,1.09,2.055,1.29), (1.81,1.09,2.01,1.29), (-1.565,1.55,-1.275,1.75), (-1.52,1.55,4.77,1.75), (2.5,1.55,4.77,1.75), (2.555,1.55,2.845,1.75), (3.835,1.55,4.125,1.75), (4.525,1.55,4.815,1.75), (-2.025,2.01,-1.735,2.21), (-1.98,2.01,7.4,2.21), (5.085,2.01,5.375,2.21), (5.13,2.01,7.4,2.21), (5.775,2.01,6.065,2.21), (7.055,2.01,7.345,2.21), (-2.485,2.47,-2.195,2.67), (-2.44,2.47,8.09,2.67), (7.845,2.47,8.135,2.67), (3.145,4.5,3.435,4.7), (3.145,4.5,3.435,4.7), (3.19,4.5,6.71,4.7), (6.465,4.5,6.755,4.7), (6.465,4.5,6.755,4.7), (-2.485,4.96,-2.195,5.16), (-2.44,4.96,2.01,5.16), (1.765,4.96,2.055,5.16), (1.81,4.96,2.01,5.16), (-2.025,5.42,-1.735,5.62), (-1.98,5.42,4.77,5.62), (2.5,5.42,4.77,5.62), (2.555,5.42,2.845,5.62), (3.835,5.42,4.125,5.62), (4.525,5.42,4.815,5.62), (-1.565,5.88,-1.275,6.08), (-1.52,5.88,7.4,6.08), (5.085,5.88,5.375,6.08), (5.13,5.88,7.4,6.08), (5.775,5.88,6.065,6.08), (7.055,5.88,7.345,6.08), (-1.105,6.34,-0.815,6.54), (-1.06,6.34,8.09,6.54), (7.845,6.34,8.135,6.54)])
R(dynamic_pcell_7, NWell, [(-0.95,-2.03,10.85,2.38), (-0.31,-0.31,2.37,0.66), (1.45,-0.31,3.75,0.66), (2.83,-0.31,5.13,0.66), (4.77,-0.31,7.07,0.66), (6.15,-0.31,8.45,0.66), (7.53,-0.31,10.21,0.66), (-0.95,1.38,10.85,5.79), (-0.31,3.1,2.37,4.07), (1.45,3.1,3.75,4.07), (2.83,3.1,5.13,4.07), (4.77,3.1,7.07,4.07), (6.15,3.1,8.45,4.07), (7.53,3.1,10.21,4.07)])
A(dynamic_pcell_7, Substrate, 1.88, -23.12, 0.3, 0.3, 3, 2, 3.44, 3.32)
A(dynamic_pcell_7, Substrate, 1.76, 0, 0.3, 0.3, 3, 2, 1.38, 3.41)
R(dynamic_pcell_7, Substrate, [(-0.63,-24.81,11.57,-24.45), (-0.63,-24.45,-0.27,-21.49), (11.21,-24.45,11.57,-21.49), (10.64,-23.12,10.94,-22.82), (-0.63,-21.49,11.57,-21.13), (-0.63,-21.13,-0.27,-18.17), (11.21,-21.13,11.57,-18.17), (10.64,-19.8,10.94,-19.5), (6.46,0,6.76,0.3), (7.84,0,8.14,0.3), (9.6,0,9.9,0.3), (6.46,3.41,6.76,3.71), (7.84,3.41,8.14,3.71), (9.6,3.41,9.9,3.71)])
P(dynamic_pcell_7, Substrate, [(-0.63,-21.49),(-0.63,-18.17),(-0.27,-18.17),(-0.27,-21.13),(11.21,-21.13),(11.21,-18.17),(-0.63,-18.17),(-0.63,-17.81),(11.57,-17.81),(11.57,-21.49)],
  [(-0.63,-24.81),(-0.63,-21.49),(-0.27,-21.49),(-0.27,-24.45),(11.21,-24.45),(11.21,-21.49),(-0.63,-21.49),(-0.63,-21.13),(11.57,-21.13),(11.57,-24.81)])
R(dynamic_pcell_7, HeatTrans, [(0.37,-23.28,0.87,-22.66), (1.31,-23.28,1.81,-22.66), (2.25,-23.28,5.25,-22.66), (5.69,-23.28,8.69,-22.66), (9.13,-23.28,9.63,-22.66), (10.07,-23.28,10.57,-22.66), (0.37,-19.96,0.87,-19.34), (1.31,-19.96,1.81,-19.34), (2.25,-19.96,5.25,-19.34), (5.69,-19.96,8.69,-19.34), (9.13,-19.96,9.63,-19.34), (10.07,-19.96,10.57,-19.34), (0.34,-0.18,0.92,0.53), (1.22,-0.18,1.8,0.53), (2.1,-0.18,3.18,0.53), (3.48,-0.18,4.56,0.53), (5.42,-0.18,6.5,0.53), (6.8,-0.18,7.88,0.53), (8.18,-0.18,8.76,0.53), (9.06,-0.18,9.64,0.53), (0.34,3.23,0.92,3.94), (1.22,3.23,1.8,3.94), (2.1,3.23,3.18,3.94), (3.48,3.23,4.56,3.94), (5.42,3.23,6.5,3.94), (6.8,3.23,7.88,3.94), (8.18,3.23,8.76,3.94), (9.06,3.23,9.64,3.94)])
dynamic_pcell_7.add(gdstk.Label('VSS', (5.47,-17.99), layer=8, texttype=0))
dynamic_pcell_7.add(gdstk.Label('VSS', (5.47,-21.31), layer=8, texttype=0))
dynamic_pcell_7.add(gdstk.Label('VDD', (4.95,0.175), layer=31, texttype=0))
dynamic_pcell_7.add(gdstk.Label('VDD', (4.95,3.585), layer=31, texttype=0))
dynamic_pcell_7.add(gdstk.Label('dummy', (0.59,0.175), layer=63, texttype=0))
dynamic_pcell_7.add(gdstk.Label('dummy', (1.47,0.175), layer=63, texttype=0))
dynamic_pcell_7.add(gdstk.Label('A', (2.6,0.175), layer=63, texttype=0))
dynamic_pcell_7.add(gdstk.Label('B', (3.98,0.175), layer=63, texttype=0))
dynamic_pcell_7.add(gdstk.Label('C', (5.92,0.175), layer=63, texttype=0))
dynamic_pcell_7.add(gdstk.Label('D', (7.3,0.175), layer=63, texttype=0))
dynamic_pcell_7.add(gdstk.Label('dummy', (8.43,0.175), layer=63, texttype=0))
dynamic_pcell_7.add(gdstk.Label('dummy', (9.31,0.175), layer=63, texttype=0))
dynamic_pcell_7.add(gdstk.Label('well', (4.95,-1.53), layer=63, texttype=0))
dynamic_pcell_7.add(gdstk.Label('dummy', (0.59,3.585), layer=63, texttype=0))
dynamic_pcell_7.add(gdstk.Label('dummy', (1.47,3.585), layer=63, texttype=0))
dynamic_pcell_7.add(gdstk.Label('D', (2.6,3.585), layer=63, texttype=0))
dynamic_pcell_7.add(gdstk.Label('C', (3.98,3.585), layer=63, texttype=0))
dynamic_pcell_7.add(gdstk.Label('B', (5.92,3.585), layer=63, texttype=0))
dynamic_pcell_7.add(gdstk.Label('A', (7.3,3.585), layer=63, texttype=0))
dynamic_pcell_7.add(gdstk.Label('dummy', (8.43,3.585), layer=63, texttype=0))
dynamic_pcell_7.add(gdstk.Label('dummy', (9.31,3.585), layer=63, texttype=0))
dynamic_pcell_7.add(gdstk.Label('well', (4.95,1.88), layer=63, texttype=0))
dynamic_pcell_7.add(gdstk.Label('dummy', (0.62,-19.65), layer=63, texttype=0))
dynamic_pcell_7.add(gdstk.Label('dummy', (1.56,-19.65), layer=63, texttype=0))
dynamic_pcell_7.add(gdstk.Label('E', (3.75,-19.65), layer=63, texttype=0))
dynamic_pcell_7.add(gdstk.Label('F', (7.19,-19.65), layer=63, texttype=0))
dynamic_pcell_7.add(gdstk.Label('dummy', (9.38,-19.65), layer=63, texttype=0))
dynamic_pcell_7.add(gdstk.Label('dummy', (10.32,-19.65), layer=63, texttype=0))
dynamic_pcell_7.add(gdstk.Label('sub!', (5.47,-21.31), layer=63, texttype=0))
dynamic_pcell_7.add(gdstk.Label('dummy', (0.62,-22.97), layer=63, texttype=0))
dynamic_pcell_7.add(gdstk.Label('dummy', (1.56,-22.97), layer=63, texttype=0))
dynamic_pcell_7.add(gdstk.Label('F', (3.75,-22.97), layer=63, texttype=0))
dynamic_pcell_7.add(gdstk.Label('E', (7.19,-22.97), layer=63, texttype=0))
dynamic_pcell_7.add(gdstk.Label('dummy', (9.38,-22.97), layer=63, texttype=0))
dynamic_pcell_7.add(gdstk.Label('dummy', (10.32,-22.97), layer=63, texttype=0))
dynamic_pcell_7.add(gdstk.Label('sub!', (5.47,-24.63), layer=63, texttype=0))
dynamic_pcell_7.add(gdstk.Label('A_DRN', (1.91,0.65), layer=10, texttype=0))
dynamic_pcell_7.add(gdstk.Label('DRN_NET_BE_GATE_AB', (2.6,1.14), layer=10, texttype=0))
dynamic_pcell_7.add(gdstk.Label('DRN_NET_BE_GATE_AB', (4.67,0.88), layer=10, texttype=0))
dynamic_pcell_7.add(gdstk.Label('DRN_NET_BE_GATE_AB', (3.98,1.14), layer=10, texttype=0))
dynamic_pcell_7.add(gdstk.Label('DRN_NET_CF_GATE_CD', (5.23,1.11), layer=10, texttype=0))
dynamic_pcell_7.add(gdstk.Label('DRN_NET_CF_GATE_CD', (5.92,1.37), layer=10, texttype=0))
dynamic_pcell_7.add(gdstk.Label('DRN_NET_CF_GATE_CD', (7.3,1.37), layer=10, texttype=0))
dynamic_pcell_7.add(gdstk.Label('D_DRN', (7.99,1.34), layer=10, texttype=0))
dynamic_pcell_7.add(gdstk.Label('SRC_NET_ABCD', (3.29,4.06), layer=10, texttype=0))
dynamic_pcell_7.add(gdstk.Label('SRC_NET_ABCD', (3.29,4.06), layer=10, texttype=0))
dynamic_pcell_7.add(gdstk.Label('SRC_NET_ABCD', (6.61,4.06), layer=10, texttype=0))
dynamic_pcell_7.add(gdstk.Label('SRC_NET_ABCD', (6.61,4.06), layer=10, texttype=0))
dynamic_pcell_7.add(gdstk.Label('D_DRN', (1.91,4.29), layer=10, texttype=0))
dynamic_pcell_7.add(gdstk.Label('DRN_NET_CF_GATE_CD', (2.6,4.78), layer=10, texttype=0))
dynamic_pcell_7.add(gdstk.Label('DRN_NET_CF_GATE_CD', (4.67,4.52), layer=10, texttype=0))
dynamic_pcell_7.add(gdstk.Label('DRN_NET_CF_GATE_CD', (3.98,4.78), layer=10, texttype=0))
dynamic_pcell_7.add(gdstk.Label('DRN_NET_BE_GATE_AB', (5.23,4.75), layer=10, texttype=0))
dynamic_pcell_7.add(gdstk.Label('DRN_NET_BE_GATE_AB', (5.92,5.01), layer=10, texttype=0))
dynamic_pcell_7.add(gdstk.Label('DRN_NET_BE_GATE_AB', (7.3,5.01), layer=10, texttype=0))
dynamic_pcell_7.add(gdstk.Label('A_DRN', (7.99,4.98), layer=10, texttype=0))
dynamic_pcell_7.add(gdstk.Label('SRC_NET_ABCD', (3.29,1.88), layer=10, texttype=0))
dynamic_pcell_7.add(gdstk.Label('SRC_NET_ABCD', (3.29,1.88), layer=10, texttype=0))
dynamic_pcell_7.add(gdstk.Label('SRC_NET_ABCD', (6.61,1.88), layer=10, texttype=0))
dynamic_pcell_7.add(gdstk.Label('SRC_NET_ABCD', (6.61,1.88), layer=10, texttype=0))
dynamic_pcell_7.add(gdstk.Label('DRN_NET_BE_GATE_AB', (2.03,-20.12), layer=10, texttype=0))
dynamic_pcell_7.add(gdstk.Label('E_GATE', (3.75,-20.57), layer=10, texttype=0))
dynamic_pcell_7.add(gdstk.Label('DRN_NET_CF_GATE_CD', (8.91,-20.58), layer=10, texttype=0))
dynamic_pcell_7.add(gdstk.Label('F_GATE', (7.19,-21.03), layer=10, texttype=0))
dynamic_pcell_7.add(gdstk.Label('SRC_NET_EF', (5.47,-23.44), layer=10, texttype=0))
dynamic_pcell_7.add(gdstk.Label('SRC_NET_EF', (5.47,-23.44), layer=10, texttype=0))
dynamic_pcell_7.add(gdstk.Label('DRN_NET_CF_GATE_CD', (2.03,-23.67), layer=10, texttype=0))
dynamic_pcell_7.add(gdstk.Label('F_GATE', (3.75,-24.12), layer=10, texttype=0))
dynamic_pcell_7.add(gdstk.Label('DRN_NET_BE_GATE_AB', (8.91,-24.13), layer=10, texttype=0))
dynamic_pcell_7.add(gdstk.Label('E_GATE', (7.19,-24.58), layer=10, texttype=0))
dynamic_pcell_7.add(gdstk.Label('SRC_NET_EF', (5.47,-21.31), layer=10, texttype=0))
dynamic_pcell_7.add(gdstk.Label('SRC_NET_EF', (5.47,-21.31), layer=10, texttype=0))
dynamic_pcell_7.add(gdstk.Label('A_DRN', (-0.96,3.815), layer=10, texttype=0))
dynamic_pcell_7.add(gdstk.Label('DRN_NET_BE_GATE_AB', (-1.42,-9.67), layer=10, texttype=0))
dynamic_pcell_7.add(gdstk.Label('DRN_NET_CF_GATE_CD', (-1.88,-9.44), layer=10, texttype=0))
dynamic_pcell_7.add(gdstk.Label('D_DRN', (-2.34,3.815), layer=10, texttype=0))
dynamic_pcell_7.add(gdstk.Label('E_GATE', (-2.8,-23.43), layer=10, texttype=0))
dynamic_pcell_7.add(gdstk.Label('F_GATE', (-3.26,-23.43), layer=10, texttype=0))
dynamic_pcell_7.add(gdstk.Label('A_DRN', (1.91,1.19), layer=30, texttype=0))
dynamic_pcell_7.add(gdstk.Label('DRN_NET_BE_GATE_AB', (3.635,1.65), layer=30, texttype=0))
dynamic_pcell_7.add(gdstk.Label('DRN_NET_CF_GATE_CD', (6.265,2.11), layer=30, texttype=0))
dynamic_pcell_7.add(gdstk.Label('SRC_NET_ABCD', (4.95,4.6), layer=30, texttype=0))
dynamic_pcell_7.add(gdstk.Label('D_DRN', (1.91,5.06), layer=30, texttype=0))
dynamic_pcell_7.add(gdstk.Label('DRN_NET_CF_GATE_CD', (3.635,5.52), layer=30, texttype=0))
dynamic_pcell_7.add(gdstk.Label('DRN_NET_BE_GATE_AB', (6.265,5.98), layer=30, texttype=0))
dynamic_pcell_7.add(gdstk.Label('DRN_NET_BE_GATE_AB', (2.03,-20.62), layer=30, texttype=0))
dynamic_pcell_7.add(gdstk.Label('E_GATE', (3.75,-21.08), layer=30, texttype=0))
dynamic_pcell_7.add(gdstk.Label('F_GATE', (7.19,-22), layer=30, texttype=0))
dynamic_pcell_7.add(gdstk.Label('SRC_NET_EF', (5.47,-23.94), layer=30, texttype=0))
dynamic_pcell_7.add(gdstk.Label('DRN_NET_CF_GATE_CD', (2.03,-24.4), layer=30, texttype=0))
dynamic_pcell_7.add(gdstk.Label('F_GATE', (3.75,-24.86), layer=30, texttype=0))
dynamic_pcell_7.add(gdstk.Label('E_GATE', (7.19,-25.78), layer=30, texttype=0))
dynamic_pcell_7.add(gdstk.Label('A_DRN', (0.475,1.19), layer=30, texttype=0))
dynamic_pcell_7.add(gdstk.Label('A_DRN', (3.515,6.44), layer=30, texttype=0))
dynamic_pcell_7.add(gdstk.Label('DRN_NET_BE_GATE_AB', (1.625,1.65), layer=30, texttype=0))
dynamic_pcell_7.add(gdstk.Label('DRN_NET_BE_GATE_AB', (2.94,5.98), layer=30, texttype=0))
dynamic_pcell_7.add(gdstk.Label('DRN_NET_BE_GATE_AB', (0.305,-20.62), layer=30, texttype=0))
dynamic_pcell_7.add(gdstk.Label('DRN_NET_BE_GATE_AB', (3.745,-25.32), layer=30, texttype=0))
dynamic_pcell_7.add(gdstk.Label('DRN_NET_CF_GATE_CD', (2.71,2.11), layer=30, texttype=0))
dynamic_pcell_7.add(gdstk.Label('DRN_NET_CF_GATE_CD', (1.395,5.52), layer=30, texttype=0))
dynamic_pcell_7.add(gdstk.Label('DRN_NET_CF_GATE_CD', (3.515,-21.54), layer=30, texttype=0))
dynamic_pcell_7.add(gdstk.Label('DRN_NET_CF_GATE_CD', (0.075,-24.4), layer=30, texttype=0))
dynamic_pcell_7.add(gdstk.Label('D_DRN', (2.825,2.57), layer=30, texttype=0))
dynamic_pcell_7.add(gdstk.Label('D_DRN', (-0.215,5.06), layer=30, texttype=0))
dynamic_pcell_7.add(gdstk.Label('E_GATE', (0.875,-21.08), layer=30, texttype=0))
dynamic_pcell_7.add(gdstk.Label('E_GATE', (2.595,-25.78), layer=30, texttype=0))
dynamic_pcell_7.add(gdstk.Label('F_GATE', (2.365,-22), layer=30, texttype=0))
dynamic_pcell_7.add(gdstk.Label('F_GATE', (0.645,-24.86), layer=30, texttype=0))
dynamic_pcell_7.add(gdstk.Label('pmos', (0.63,0.175), layer=51, texttype=0))
dynamic_pcell_7.add(gdstk.Label('pmos', (1.51,0.175), layer=51, texttype=0))
dynamic_pcell_7.add(gdstk.Label('pmos', (2.64,0.175), layer=51, texttype=0))
dynamic_pcell_7.add(gdstk.Label('pmos', (4.02,0.175), layer=51, texttype=0))
dynamic_pcell_7.add(gdstk.Label('pmos', (5.96,0.175), layer=51, texttype=0))
dynamic_pcell_7.add(gdstk.Label('pmos', (7.34,0.175), layer=51, texttype=0))
dynamic_pcell_7.add(gdstk.Label('pmos', (8.47,0.175), layer=51, texttype=0))
dynamic_pcell_7.add(gdstk.Label('pmos', (9.35,0.175), layer=51, texttype=0))
dynamic_pcell_7.add(gdstk.Label('pmos', (0.63,3.585), layer=51, texttype=0))
dynamic_pcell_7.add(gdstk.Label('pmos', (1.51,3.585), layer=51, texttype=0))
dynamic_pcell_7.add(gdstk.Label('pmos', (2.64,3.585), layer=51, texttype=0))
dynamic_pcell_7.add(gdstk.Label('pmos', (4.02,3.585), layer=51, texttype=0))
dynamic_pcell_7.add(gdstk.Label('pmos', (5.96,3.585), layer=51, texttype=0))
dynamic_pcell_7.add(gdstk.Label('pmos', (7.34,3.585), layer=51, texttype=0))
dynamic_pcell_7.add(gdstk.Label('pmos', (8.47,3.585), layer=51, texttype=0))
dynamic_pcell_7.add(gdstk.Label('pmos', (9.35,3.585), layer=51, texttype=0))
dynamic_pcell_7.add(gdstk.Label('nmos', (0.62,-19.65), layer=51, texttype=0))
dynamic_pcell_7.add(gdstk.Label('nmos', (1.56,-19.65), layer=51, texttype=0))
dynamic_pcell_7.add(gdstk.Label('nmos', (3.75,-19.65), layer=51, texttype=0))
dynamic_pcell_7.add(gdstk.Label('nmos', (7.19,-19.65), layer=51, texttype=0))
dynamic_pcell_7.add(gdstk.Label('nmos', (9.38,-19.65), layer=51, texttype=0))
dynamic_pcell_7.add(gdstk.Label('nmos', (10.32,-19.65), layer=51, texttype=0))
dynamic_pcell_7.add(gdstk.Label('nmos', (0.62,-22.97), layer=51, texttype=0))
dynamic_pcell_7.add(gdstk.Label('nmos', (1.56,-22.97), layer=51, texttype=0))
dynamic_pcell_7.add(gdstk.Label('nmos', (3.75,-22.97), layer=51, texttype=0))
dynamic_pcell_7.add(gdstk.Label('nmos', (7.19,-22.97), layer=51, texttype=0))
dynamic_pcell_7.add(gdstk.Label('nmos', (9.38,-22.97), layer=51, texttype=0))
dynamic_pcell_7.add(gdstk.Label('nmos', (10.32,-22.97), layer=51, texttype=0))

lib.write_gds('dynamic_pcell_7.gds')
